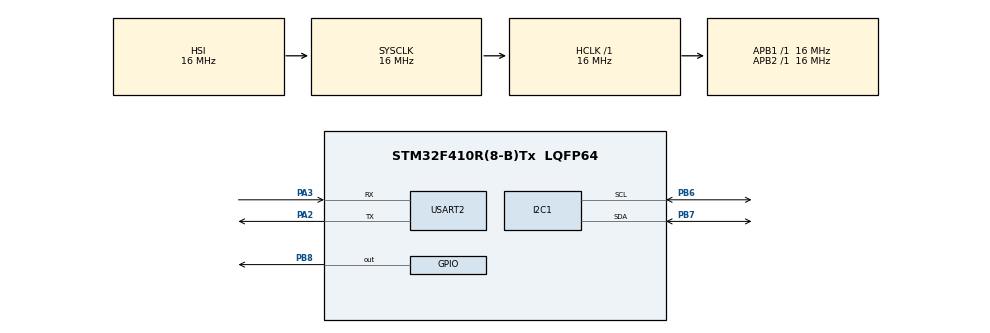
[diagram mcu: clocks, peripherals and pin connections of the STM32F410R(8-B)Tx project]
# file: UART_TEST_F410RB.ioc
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I2C1.I2C_Mode=I2C_Fast
Mcu.Family=STM32F4
Mcu.Name=STM32F410R(8-B)Tx
Mcu.Package=LQFP64
NVIC.PriorityGroup=NVIC_PRIORITYGROUP_4
PA2.Mode=Asynchronous
PA2.Signal=USART2_TX
PA3.Mode=Asynchronous
PA3.Signal=USART2_RX
PB6.Mode=I2C
PB6.Signal=I2C1_SCL
PB7.Mode=I2C
PB7.Signal=I2C1_SDA
PB8.Signal=GPIO_Output
ProjectManager.HeapSize=0x200
ProjectManager.StackSize=0x400
ProjectManager.TargetToolchain=STM32CubeIDE
RCC.AHBFreq_Value=16000000
RCC.APB1Freq_Value=16000000
RCC.APB2Freq_Value=16000000
RCC.CortexFreq_Value=16000000
RCC.HSE_VALUE=25000000
RCC.HSI_VALUE=16000000
RCC.LSE_VALUE=32768
RCC.SYSCLKFreq_VALUE=16000000
RCC.VCOOutputFreq_Value=192000000
USART2.VirtualMode=VM_ASYNC
board=custom

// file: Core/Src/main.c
/* USER CODE BEGIN Header */
/**
 ******************************************************************************
 * @file           : main.c
 * @brief          : Main program body
 ******************************************************************************
 * @attention
 *
 * <h2><center>&copy; Copyright (c) 2021 STMicroelectronics.
 * All rights reserved.</center></h2>
 *
 * This software component is licensed by ST under BSD 3-Clause license,
 * the "License"; You may not use this file except in compliance with the
 * License. You may obtain a copy of the License at:
 *                        opensource.org/licenses/BSD-3-Clause
 *
 ******************************************************************************
 */
/* USER CODE END Header */
#include "main.h"

/* USER CODE BEGIN Includes */
#include "string.h"
#include "stdio.h"
#include "stdint.h"
#include "stdarg.h"
/* USER CODE END Includes */

I2C_HandleTypeDef hi2c1;

UART_HandleTypeDef huart2;

void SystemClock_Config(void);
static void MX_GPIO_Init(void);
static void MX_I2C1_Init(void);
static void MX_USART2_UART_Init(void);
/* USER CODE BEGIN PFP */
void printMsg(char *format, ...) {
	char str[80];

	/*Extract the the argument list using VA apis */
	va_list args;
	va_start(args, format);
	vsprintf(str, format, args);
	HAL_UART_Transmit(&huart2, (uint8_t*) str, strlen(str), HAL_MAX_DELAY);
	va_end(args);
}

uint8_t i2cScan(void) {
	char info[] = "Scanning I2C bus...\r\n";
	printMsg(info);

	HAL_StatusTypeDef res;

	for (uint16_t i = 0; i < 128; i++) {
		res = HAL_I2C_IsDeviceReady(&hi2c1, i << 1, 1, 10);
		if (res == HAL_OK && (i) == 0x3D) {
			printMsg("OLED found at 0x%02X\n", i);
		} else if (res == HAL_OK && (i) == 0x2F) {
			printMsg("MCP4018 found at 0x%02X\n", i);
		} else if (res == HAL_OK) {
			printMsg("Unknown device found at 0x%02X\n", i);
		}
	}
	printMsg("returning from scan\n");
	return 0;
}

uint8_t MCP4018_ReadVal() {
	uint8_t retVal = 0;
	HAL_StatusTypeDef err = HAL_I2C_Master_Receive(&hi2c1, 0x2F << 1, &retVal, 1, HAL_MAX_DELAY);
	if(err == HAL_BUSY)
		printMsg("BUSY\n");
	else if(err == HAL_ERROR)
		printMsg("NACK\n");
	return retVal;
}

HAL_StatusTypeDef MCP4018_WriteVal(uint8_t val) {
	return HAL_I2C_Master_Transmit(&hi2c1, 0x2F << 1, &val, 1, HAL_MAX_DELAY);
}
/* USER CODE END PFP */

int main(void) {

	/* MCU Configuration--------------------------------------------------------*/

	/* Reset of all peripherals, Initializes the Flash interface and the Systick. */
	HAL_Init();

	/* Configure the system clock */
	SystemClock_Config();

	/* Initialize all configured peripherals */
	MX_GPIO_Init();
	MX_I2C1_Init();
	MX_USART2_UART_Init();
	/* USER CODE BEGIN 2 */
	HAL_GPIO_WritePin(GPIOB, GPIO_PIN_8, GPIO_PIN_RESET);
	osDelay(100);
	HAL_GPIO_WritePin(GPIOB, GPIO_PIN_8, GPIO_PIN_SET);
	/* USER CODE END 2 */

	/* Infinite loop */
	/* USER CODE BEGIN WHILE */
	i2cScan();
	osDelay(1000);
	printMsg("Read: 0x%02X\n", MCP4018_ReadVal());
	while (1) {
		/* USER CODE END WHILE */

		/* USER CODE BEGIN 3 */
		for (int i = 0; i < 128; i++) {
			if (MCP4018_WriteVal(i) == HAL_OK)
				printMsg("Write: 0x%02X | Read: 0x%02X\n", i,
						MCP4018_ReadVal());
			osDelay(1000);
		}
	}
	/* USER CODE END 3 */
}

void SystemClock_Config(void) {
	RCC_OscInitTypeDef RCC_OscInitStruct = { 0 };
	RCC_ClkInitTypeDef RCC_ClkInitStruct = { 0 };

	/** Configure the main internal regulator output voltage
	 */
	__HAL_RCC_PWR_CLK_ENABLE();
	__HAL_PWR_VOLTAGESCALING_CONFIG(PWR_REGULATOR_VOLTAGE_SCALE1);
	/** Initializes the RCC Oscillators according to the specified parameters
	 * in the RCC_OscInitTypeDef structure.
	 */
	RCC_OscInitStruct.OscillatorType = RCC_OSCILLATORTYPE_HSI;
	RCC_OscInitStruct.HSIState = RCC_HSI_ON;
	RCC_OscInitStruct.HSICalibrationValue = RCC_HSICALIBRATION_DEFAULT;
	RCC_OscInitStruct.PLL.PLLState = RCC_PLL_NONE;
	if (HAL_RCC_OscConfig(&RCC_OscInitStruct) != HAL_OK) {
		Error_Handler();
	}
	/** Initializes the CPU, AHB and APB buses clocks
	 */
	RCC_ClkInitStruct.ClockType = RCC_CLOCKTYPE_HCLK | RCC_CLOCKTYPE_SYSCLK
			| RCC_CLOCKTYPE_PCLK1 | RCC_CLOCKTYPE_PCLK2;
	RCC_ClkInitStruct.SYSCLKSource = RCC_SYSCLKSOURCE_HSI;
	RCC_ClkInitStruct.AHBCLKDivider = RCC_SYSCLK_DIV1;
	RCC_ClkInitStruct.APB1CLKDivider = RCC_HCLK_DIV1;
	RCC_ClkInitStruct.APB2CLKDivider = RCC_HCLK_DIV1;

	if (HAL_RCC_ClockConfig(&RCC_ClkInitStruct, FLASH_LATENCY_0) != HAL_OK) {
		Error_Handler();
	}
}

static void MX_I2C1_Init(void) {

	hi2c1.Instance = I2C1;
	hi2c1.Init.ClockSpeed = 400000;
	hi2c1.Init.DutyCycle = I2C_DUTYCYCLE_2;
	hi2c1.Init.OwnAddress1 = 0;
	hi2c1.Init.AddressingMode = I2C_ADDRESSINGMODE_7BIT;
	hi2c1.Init.DualAddressMode = I2C_DUALADDRESS_DISABLE;
	hi2c1.Init.OwnAddress2 = 0;
	hi2c1.Init.GeneralCallMode = I2C_GENERALCALL_DISABLE;
	hi2c1.Init.NoStretchMode = I2C_NOSTRETCH_DISABLE;
	if (HAL_I2C_Init(&hi2c1) != HAL_OK) {
		Error_Handler();
	}

}

static void MX_USART2_UART_Init(void) {

	huart2.Instance = USART2;
	huart2.Init.BaudRate = 115200;
	huart2.Init.WordLength = UART_WORDLENGTH_8B;
	huart2.Init.StopBits = UART_STOPBITS_1;
	huart2.Init.Parity = UART_PARITY_NONE;
	huart2.Init.Mode = UART_MODE_TX_RX;
	huart2.Init.HwFlowCtl = UART_HWCONTROL_NONE;
	huart2.Init.OverSampling = UART_OVERSAMPLING_16;
	if (HAL_UART_Init(&huart2) != HAL_OK) {
		Error_Handler();
	}

}

static void MX_GPIO_Init(void) {
	GPIO_InitTypeDef GPIO_InitStruct = { 0 };

	/* GPIO Ports Clock Enable */
	__HAL_RCC_GPIOA_CLK_ENABLE();
	__HAL_RCC_GPIOB_CLK_ENABLE();

	/*Configure GPIO pin Output Level */
	HAL_GPIO_WritePin(GPIOB, GPIO_PIN_8, GPIO_PIN_RESET);

	/*Configure GPIO pin : PB8 */
	GPIO_InitStruct.Pin = GPIO_PIN_8;
	GPIO_InitStruct.Mode = GPIO_MODE_OUTPUT_PP;
	GPIO_InitStruct.Pull = GPIO_NOPULL;
	GPIO_InitStruct.Speed = GPIO_SPEED_FREQ_LOW;
	HAL_GPIO_Init(GPIOB, &GPIO_InitStruct);

}

void Error_Handler(void) {
	__disable_irq();
	while (1) {
	}
}

/************************ (C) COPYRIGHT STMicroelectronics *****END OF FILE****/
